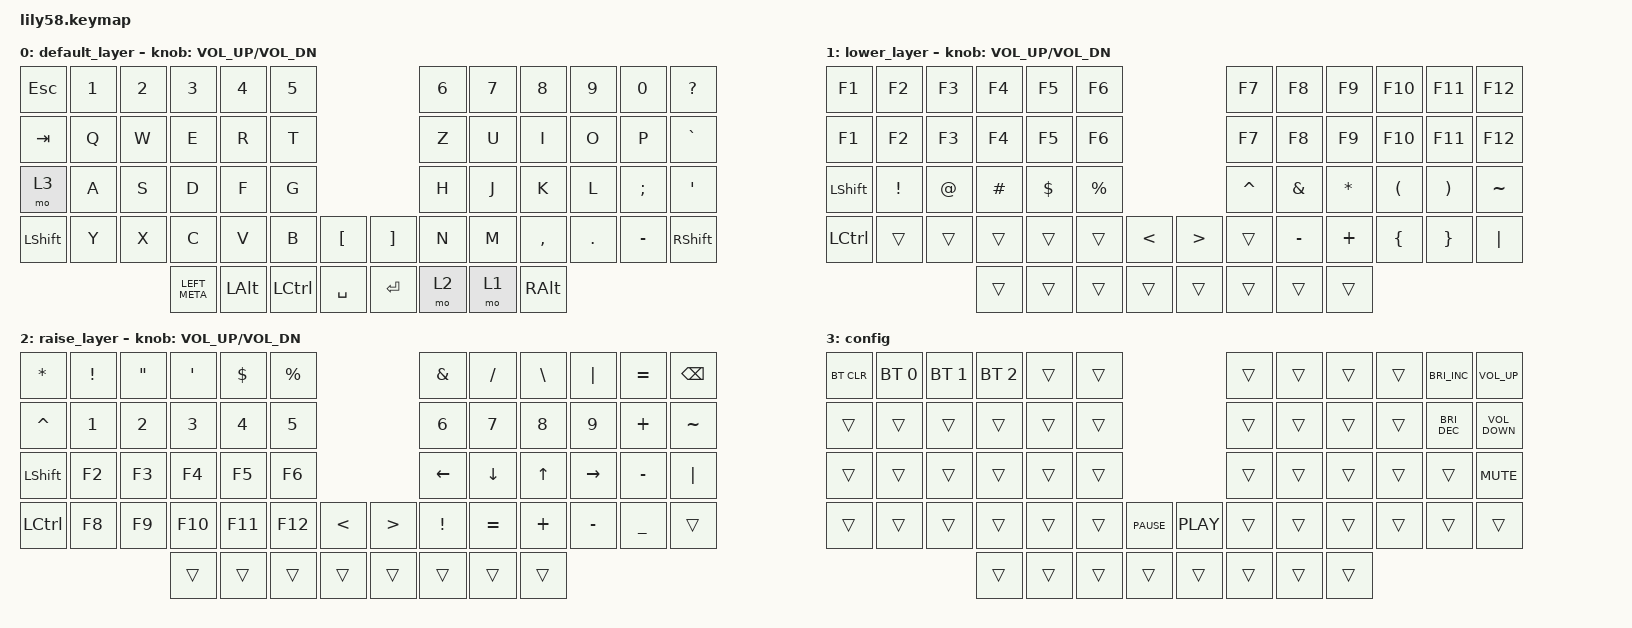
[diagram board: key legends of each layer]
/*
 * Copyright (c) 2020 The ZMK Contributors
 *
 * SPDX-License-Identifier: MIT
 */

#include <behaviors.dtsi>
#include <dt-bindings/zmk/bt.h>
#include <dt-bindings/zmk/keys.h>

/ {
    keymap {
        compatible = "zmk,keymap";

        default_layer {
            // ------------------------------------------------------------------------------------------------------------
            // |  ESC  |  1  |  2  |  3   |  4   |  5   |                   |  6   |  7    |  8    |  9   |   0   |   `   |
            // |  TAB  |  Q  |  W  |  E   |  R   |  T   |                   |  Y   |  U    |  I    |  O   |   P   |   -   |
            // |  CTRL |  A  |  S  |  D   |  F   |  G   |                   |  H   |  J    |  K    |  L   |   ;   |   '   |
            // | SHIFT |  Z  |  X  |  C   |  V   |  B   |   "["  |  |  "]"  |  N   |  M    |  ,    |  .   |   /   | SHIFT |
            //                     | ALT  | GUI  | LOWER|  SPACE |  | ENTER | RAISE| BSPC  | GUI   |

            bindings = <
&kp ESC         &kp N1  &kp NUMBER_2  &kp N3         &kp N4        &kp N5                                            &kp N6  &kp N7  &kp N8         &kp N9   &kp N0     &kp QUESTION
&kp TAB         &kp Q   &kp W         &kp E          &kp R         &kp T                                             &kp Z   &kp U   &kp I          &kp O    &kp P      &kp GRAVE
&mo 3           &kp A   &kp S         &kp D          &kp F         &kp G                                             &kp H   &kp J   &kp K          &kp L    &kp SEMI   &kp SINGLE_QUOTE
&kp LEFT_SHIFT  &kp Y   &kp X         &kp C          &kp V         &kp B      &kp LEFT_BRACKET    &kp RIGHT_BRACKET  &kp N   &kp M   &kp COMMA      &kp DOT  &kp MINUS  &kp RIGHT_SHIFT
                                      &kp LEFT_META  &kp LEFT_ALT  &kp LCTRL  &kp SPACE           &kp RET            &mo 2   &mo 1   &kp RIGHT_ALT
            >;

            sensor-bindings = <&inc_dec_kp C_VOL_UP C_VOL_DN>;
        };

        lower_layer {
            // ------------------------------------------------------------------------------------------------------------
            // | BTCLR | BT1 | BT2 |  BT3 |  BT4 |  BT5 |                   |      |       |       |      |       |       |
            // |  F1   |  F2 |  F3 |  F4  |  F5  |  F6  |                   |  F7  |  F8   |  F9   |  F10 |  F11  |  F12  |
            // |   `   |  !  |  @  |  #   |  $   |  %   |                   |  ^   |  &    |  *    |  (   |   )   |   ~   |
            // |       |     |     |      |      |      |        |  |       |      |  _    |  +    |  {   |   }   |  "|"  |
            //                     |      |      |      |        |  |       |      |       |       |

            bindings = <
&kp F1            &kp F2    &kp F3  &kp F4    &kp F5      &kp F6                                        &kp F7     &kp F8     &kp F9     &kp F10   &kp F11   &kp F12
&kp F1            &kp F2    &kp F3  &kp F4    &kp F5      &kp F6                                        &kp F7     &kp F8     &kp F9     &kp F10   &kp F11   &kp F12
&kp LEFT_SHIFT    &kp EXCL  &kp AT  &kp HASH  &kp DOLLAR  &kp PRCNT                                     &kp CARET  &kp AMPS   &kp ASTRK  &kp LPAR  &kp RPAR  &kp TILDE
&kp LEFT_CONTROL  &trans    &trans  &trans    &trans      &trans     &kp LESS_THAN    &kp GREATER_THAN  &trans     &kp MINUS  &kp PLUS   &kp LBRC  &kp RBRC  &kp PIPE
                                    &trans    &trans      &trans     &trans           &trans            &trans     &trans     &trans
            >;

            sensor-bindings = <&inc_dec_kp C_VOL_UP C_VOL_DN>;
        };

        raise_layer {
            // ------------------------------------------------------------------------------------------------------------
            // |       |     |     |      |      |      |                   |      |       |       |      |       |       |
            // |   `   |  1  |  2  |  3   |  4   |  5   |                   |  6   |   7   |   8   |  9   |   0   |       |
            // |   F1  |  F2 |  F3 |  F4  |  F5  |  F6  |                   |      |   <-  |   v   |  ^   |  ->   |       |
            // |   F7  |  F8 |  F9 |  F10 |  F11 |  F12 |        |  |       |  +   |   -   |   =   |  [   |   ]   |   \   |
            //                     |      |      |      |        |  |       |      |       |       |

            bindings = <
&kp ASTERISK      &kp EXCLAMATION  &kp DOUBLE_QUOTES  &kp SINGLE_QUOTE  &kp DOLLAR  &kp PERCENT                                     &kp AMPERSAND    &kp SLASH  &kp BACKSLASH  &kp PIPE   &kp EQUAL       &kp BACKSPACE
&kp CARET         &kp N1           &kp N2             &kp N3            &kp N4      &kp N5                                          &kp N6           &kp N7     &kp N8         &kp N9     &kp PLUS        &kp TILDE
&kp LEFT_SHIFT    &kp F2           &kp F3             &kp F4            &kp F5      &kp F6                                          &kp LEFT         &kp DOWN   &kp UP         &kp RIGHT  &kp MINUS       &kp PIPE
&kp LEFT_CONTROL  &kp F8           &kp F9             &kp F10           &kp F11     &kp F12      &kp LESS_THAN    &kp GREATER_THAN  &kp EXCLAMATION  &kp EQUAL  &kp PLUS       &kp MINUS  &kp UNDERSCORE  &trans
                                                      &trans            &trans      &trans       &trans           &trans            &trans           &trans     &trans
            >;

            sensor-bindings = <&inc_dec_kp C_VOL_UP C_VOL_DN>;
        };

        config {
            bindings = <
&bt BT_CLR  &bt BT_SEL 0  &bt BT_SEL 1  &bt BT_SEL 2  &trans  &trans                             &trans  &trans  &trans  &trans  &kp C_BRIGHTNESS_INC  &kp C_VOLUME_UP
&trans      &trans        &trans        &trans        &trans  &trans                             &trans  &trans  &trans  &trans  &kp C_BRIGHTNESS_DEC  &kp C_VOLUME_DOWN
&trans      &trans        &trans        &trans        &trans  &trans                             &trans  &trans  &trans  &trans  &trans                &kp C_MUTE
&trans      &trans        &trans        &trans        &trans  &trans  &kp C_PAUSE    &kp C_PLAY  &trans  &trans  &trans  &trans  &trans                &trans
                                        &trans        &trans  &trans  &trans         &trans      &trans  &trans  &trans
            >;
        };
    };
};
